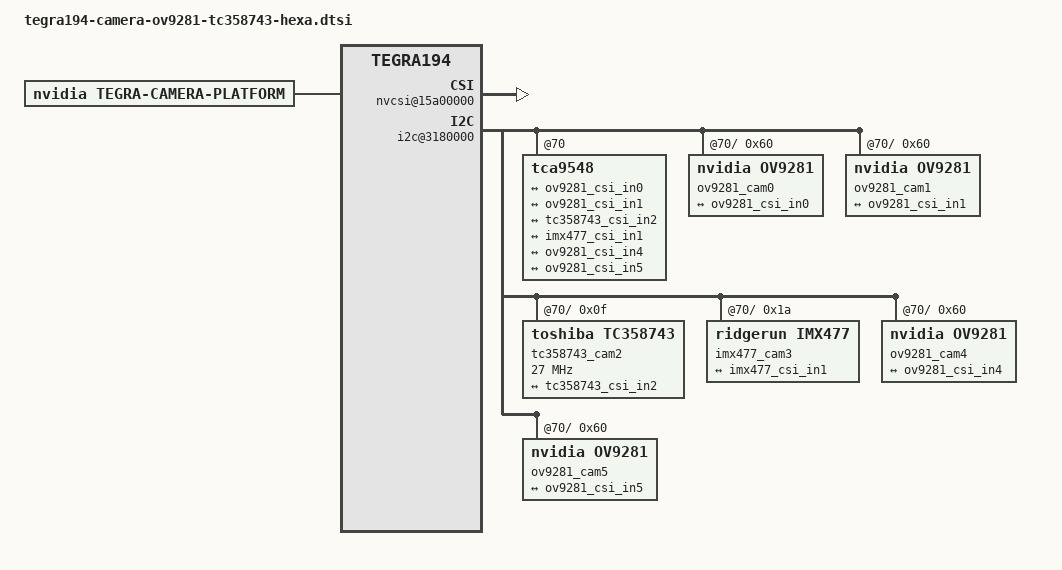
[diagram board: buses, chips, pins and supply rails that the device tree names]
/*
 * Copyright (c) 2015-2019, NVIDIA CORPORATION.  All rights reserved.
 *
 * This program is free software; you can redistribute it and/or modify
 * it under the terms of the GNU General Public License as published by
 * the Free Software Foundation; either version 2 of the License, or
 * (at your option) any later version.
 *
 * This program is distributed in the hope that it will be useful, but WITHOUT
 * ANY WARRANTY; without even the implied warranty of MERCHANTABILITY or
 * FITNESS FOR A PARTICULAR PURPOSE.  See the GNU General Public License for
 * more details.
 *
 * You should have received a copy of the GNU General Public License
 * along with this program.  If not, see <http://www.gnu.org/licenses/>.
 */

#include <dt-bindings/media/camera.h>
/ {
	tegra-capture-vi  {
			num-channels = <6>;
			ports {
				status="okay";
				#address-cells = <1>;
				#size-cells = <0>;
				port@0 {
					status="okay";
					reg = <0>;
					ov9281_vi_in0: endpoint {
						status="okay";
						port-index = <0>;
						bus-width = <2>;
						remote-endpoint = <&ov9281_csi_out0>;
					};
				};
				port@1 {
					status="okay";
					reg = <1>;
					ov9281_vi_in1: endpoint {
						status="okay";
						port-index = <2>;
						bus-width = <2>;
						remote-endpoint = <&ov9281_csi_out1>;
					};
				};
				port@2 {
					status="okay";
					reg = <2>;
					tc358743_vi_in2: endpoint {
						status="okay";
						port-index = <3>;
						bus-width = <2>;
						csi-port = <3>; 
						remote-endpoint = <&tc358743_csi_out2>;
					};
				};
				port@3 {
					status="okay";
					reg = <3>;
					imx477_vi_in1: endpoint {
						status="okay";
						port-index = <4>;
						bus-width = <2>;
						remote-endpoint = <&imx477_csi_out1>;
					};
				};
				port@4 {
					status="okay";
					reg = <4>;
					ov9281_vi_in4: endpoint {
						status="okay";
						port-index = <1>;
						bus-width = <2>;
						remote-endpoint = <&ov9281_csi_out4>;
					};
				};
				port@5 {
					status="okay";
					reg = <5>;
					ov9281_vi_in5: endpoint {
						status="okay";
						port-index = <5>;
						bus-width = <2>;
						remote-endpoint = <&ov9281_csi_out5>;
					};
				};				
			};
		
	};
	
	host1x@13e00000 {	
		nvcsi@15a00000 {
			num-channels = <6>;
			#address-cells = <1>;
			#size-cells = <0>;
			status="okay";
			channel@0 {
				reg = <0>;
				status="okay";
				ports {
					#address-cells = <1>;
					#size-cells = <0>;
					status="okay";
					port@0 {
						reg = <0>;
						status="okay";
						ov9281_csi_in0: endpoint@0 {
							status="okay";
							port-index = <0>;
							bus-width = <2>;
							remote-endpoint = <&ov9281_out0>;
						};
					};
					port@1 {
						reg = <1>;
						status="okay";
						ov9281_csi_out0: endpoint@1 {
							status="okay";
							remote-endpoint = <&ov9281_vi_in0>;
						};
					};
				};
			};
			channel@1 {
				reg = <1>;
				status="okay";
				ports {
					#address-cells = <1>;
					#size-cells = <0>;
					status="okay";
					port@0 {
						status="okay";
						reg = <0>;
						ov9281_csi_in1: endpoint@2 {
							status="okay";
							port-index = <2>;
							bus-width = <2>;
							remote-endpoint = <&ov9281_out1>;
						};
					};
					csi_chan1_port1: port@1 {
						reg = <1>;
						status="okay";
						ov9281_csi_out1: endpoint@3 {
							status="okay";
							remote-endpoint = <&ov9281_vi_in1>;
						};
					};
				};
			};
			channel@2 {
				reg = <2>;
				status="okay";
				ports {
					#address-cells = <1>;
					#size-cells = <0>;
					status="okay";
					port@0 {
						status="okay";
						reg = <0>;
						tc358743_csi_in2: endpoint@0 {
							status="okay";
							port-index = <3>;
							bus-width = <2>;
							csi-port = <3>;

							remote-endpoint = <&tc358743_out2>;
						};
					};
					port@1 {
						status="okay";
						reg = <1>;
						tc358743_csi_out2: endpoint@1 {
							status="okay";
							remote-endpoint = <&tc358743_vi_in2>;
						};
					};
				};
			};
			channel@3 {
				reg = <3>;
				status="okay";
				ports {
					#address-cells = <1>;
					#size-cells = <0>;
					status="okay";
					port@0 {
						status="okay";
						reg = <0>;
						imx477_csi_in1: endpoint@6 {
							status="okay";
							port-index = <4>;
							bus-width = <2>;
							remote-endpoint = <&imx477_out1>;
						};
					};
					port@1 {
						status="okay";
						reg = <1>;
						imx477_csi_out1: endpoint@7 {
							status="okay";
							remote-endpoint = <&imx477_vi_in1>;
						};
					};
				};
			};
			channel@4 {
				reg = <4>;
				status="okay";
				ports {
					#address-cells = <1>;
					#size-cells = <0>;
					status="okay";
					port@0 {
						status="okay";
						reg = <0>;
						ov9281_csi_in4: endpoint@8 {
							status="okay";
							port-index = <1>;
							bus-width = <2>;
							remote-endpoint = <&ov9281_out4>;
						};
					};
					port@1 {
						status="okay";
						reg = <1>;
						ov9281_csi_out4: endpoint@9 {
							status="okay";
							remote-endpoint = <&ov9281_vi_in4>;
						};
					};
				};
			};
			channel@5 {
				reg = <5>;
				status="okay";
				ports {
					#address-cells = <1>;
					#size-cells = <0>;
					status="okay";
					port@0 {
						status="okay";
						reg = <0>;
						ov9281_csi_in5: endpoint@10 {
							status="okay";
							port-index = <6>;
							bus-width = <2>;
							remote-endpoint = <&ov9281_out5>;
						};
					};
					port@1 {
						status="okay";
						reg = <1>;
						ov9281_csi_out5: endpoint@11 {
							status="okay";
							remote-endpoint = <&ov9281_vi_in5>;
						};
					};
				};
			};
		};	
	};

	i2c@3180000{ 		
		tca9548@70 {			
			i2c@0 {	/*CSI A*/				
				ov9281_cam0: ov9281_a@60 {
					status="okay";
					compatible = "nvidia,ov9281";
					/* I2C device address */ 
					reg = <0x60>;
					/* V4L2 device node location */
					devnode = "video0";

					/* Physical dimensions of sensor */
                	physical_w = "3.680";
                	physical_h = "2.760";

					sensor_model = "ov9281";
					use_sensor_mode_id = "true";					
					fsync = "slave-trigger"; /*none/slave-trigger*/

					mode0 { /* OV9281_MODE_1280x800 */						
						mclk_khz = "26000";						
						num_lanes = "2";
						tegra_sinterface = "serial_a";
						phy_mode = "DPHY";
						discontinuous_clk = "no";
						dpcm_enable = "false";
						cil_settletime = "0";
						active_w = "1280";
						active_h = "800";	
						pixel_t = "gray";
						csi_pixel_bit_depth = "10";

						readout_orientation = "90";
						line_length = "1408";											
						inherent_gain = "1";		
						mclk_multiplier = "7.69";	// mclk_multiplier = pix_clk_hx/mclk						
						pix_clk_hz = "200000000"; //800mbps*2lines/8bit per pixel

						gain_factor = "1";
						framerate_factor = "1";
						exposure_factor = "1";
						min_gain_val = "16"; 
						max_gain_val = "250"; 
						step_gain_val = "1";
						default_gain = "16"; /* 1.0x real gain */
						min_framerate = "5"; /* ? fps */
						max_framerate = "156"; 
						step_framerate = "1";
						default_framerate = "156"; /* 120.0 fps */
						min_exp_time = "19"; 
						max_exp_time = "14300"; 
						step_exp_time = "1";
						default_exp_time = "10896"; 

						embedded_metadata_height = "0";
					};
					mode1 { /* OV9281_MODE_1280x720 */
						mclk_khz = "26000";						
						num_lanes = "2";
						tegra_sinterface = "serial_a";
						phy_mode = "DPHY";
						discontinuous_clk = "no";
						dpcm_enable = "false";
						cil_settletime = "0";

						active_w = "1280";
						active_h = "720";	
						pixel_t = "gray";

						readout_orientation = "90";
						line_length = "1408";											
						inherent_gain = "1";		
						mclk_multiplier = "7.69";					
						pix_clk_hz = "200000000";
						csi_pixel_bit_depth = "10";

						gain_factor = "1";
						framerate_factor = "1";
						exposure_factor = "1";
						min_gain_val = "16"; 
						max_gain_val = "250"; 
						step_gain_val = "1";
						default_gain = "16"; /* 1.0x real gain */
						min_framerate = "5"; /* ? fps */
						max_framerate = "156"; 
						step_framerate = "1";
						default_framerate = "156"; /* 120.0 fps */
						min_exp_time = "19"; 
						max_exp_time = "14300";
						step_exp_time = "1";
						default_exp_time = "10896";

						embedded_metadata_height = "0";
					};
					mode2 { /* OV9281_MODE_640x400 */
						mclk_khz = "26000";						
						num_lanes = "2";
						tegra_sinterface = "serial_a";
						phy_mode = "DPHY";
						discontinuous_clk = "no";
						dpcm_enable = "false";
						cil_settletime = "0";
						csi_pixel_bit_depth = "10";

						active_w = "640";
						active_h = "400";	
						pixel_t = "gray";

						readout_orientation = "90";
						line_length = "1408";											
						inherent_gain = "1";		
						mclk_multiplier = "7.69";					
						pix_clk_hz = "200000000";

						gain_factor = "1";
						framerate_factor = "1";
						exposure_factor = "1";
						min_gain_val = "16"; 
						max_gain_val = "250"; 
						step_gain_val = "1";
						default_gain = "16"; /* 1.0x real gain */
						min_framerate = "5"; /* ? fps */
						max_framerate = "274"; 
						step_framerate = "1";
						default_framerate = "274"; /* 120.0 fps */
						min_exp_time = "19"; 
						max_exp_time = "23488"; //was 8120 $((32*253 + 31));  23488 = $(((32*734) + 0))
						step_exp_time = "1";
						default_exp_time = "6189";

						embedded_metadata_height = "0";
					};
					ports {
						#address-cells = <1>;
						#size-cells = <0>;
						status="okay";

						port@0 {
							reg = <0>;
							status="okay";
							ov9281_out0: endpoint {
								status="okay";
								port-index = <0>;
								bus-width = <2>;
								remote-endpoint = <&ov9281_csi_in0>;
							};
						};
					};
				};
			};
			i2c@1 {  /*CSI C*/				 	
				ov9281_cam1: ov9281_c@60 {
					status="okay";
					compatible = "nvidia,ov9281";
					/* I2C device address */ 
					reg = <0x60>;
					/* V4L2 device node location */
					devnode = "video1";

					/* Physical dimensions of sensor */
                	physical_w = "3.680";
                	physical_h = "2.760";

					sensor_model = "ov9281";
					use_sensor_mode_id = "true";
					fsync = "slave-trigger"; /*none/slave-trigger*/

					mode0 { /* OV9281_MODE_1280x800 */						
						mclk_khz = "26000";						
						num_lanes = "2";
						tegra_sinterface = "serial_c";
						phy_mode = "DPHY";
						discontinuous_clk = "no";
						dpcm_enable = "false";
						cil_settletime = "0";
						csi_pixel_bit_depth = "10";

						active_w = "1280";
						active_h = "800";	
						pixel_t = "gray";

						readout_orientation = "90";
						line_length = "1408";											
						inherent_gain = "1";		
						mclk_multiplier = "7.69";						
						pix_clk_hz = "200000000";

						gain_factor = "1";
						framerate_factor = "1";
						exposure_factor = "1";
						min_gain_val = "16"; 
						max_gain_val = "250"; 
						step_gain_val = "1";
						default_gain = "16"; /* 1.0x real gain */
						min_framerate = "5"; /* ? fps */
						max_framerate = "156"; 
						step_framerate = "1";
						default_framerate = "156"; /* 120.0 fps */
						min_exp_time = "19"; 
						max_exp_time = "14300"; 
						step_exp_time = "1";
						default_exp_time = "10896";

						embedded_metadata_height = "0";
					};
					mode1 { /* OV9281_MODE_1280x720 */
						mclk_khz = "26000";						
						num_lanes = "2";
						tegra_sinterface = "serial_c";
						phy_mode = "DPHY";
						discontinuous_clk = "no";
						dpcm_enable = "false";
						cil_settletime = "0";
						csi_pixel_bit_depth = "10";

						active_w = "1280";
						active_h = "720";	
						pixel_t = "gray";

						readout_orientation = "90";
						line_length = "1408";											
						inherent_gain = "1";		
						mclk_multiplier = "7.69";					
						pix_clk_hz = "200000000";

						gain_factor = "1";
						framerate_factor = "1";
						exposure_factor = "1";
						min_gain_val = "16"; 
						max_gain_val = "250"; 
						step_gain_val = "1";
						default_gain = "16"; /* 1.0x real gain */
						min_framerate = "5"; /* ? fps */
						max_framerate = "156"; 
						step_framerate = "1";
						default_framerate = "156"; /* 120.0 fps */
						min_exp_time = "19"; 
						max_exp_time = "14300"; 
						step_exp_time = "1";
						default_exp_time = "10896";

						embedded_metadata_height = "0";
					};
					mode2 { /* OV9281_MODE_640x400 */
						mclk_khz = "26000";						
						num_lanes = "2";
						tegra_sinterface = "serial_c";
						phy_mode = "DPHY";
						discontinuous_clk = "no";
						dpcm_enable = "false";
						cil_settletime = "0";
						csi_pixel_bit_depth = "10";

						active_w = "640";
						active_h = "400";	
						pixel_t = "gray";

						readout_orientation = "90";
						line_length = "1408";											
						inherent_gain = "1";		
						mclk_multiplier = "7.69";					
						pix_clk_hz = "200000000";

						gain_factor = "1";
						framerate_factor = "1";
						exposure_factor = "1";
						min_gain_val = "16"; 
						max_gain_val = "250"; 
						step_gain_val = "1";
						default_gain = "16"; /* 1.0x real gain */
						min_framerate = "5"; /* ? fps */
						max_framerate = "274"; 
						step_framerate = "1";
						default_framerate = "274"; /* 120.0 fps */
						min_exp_time = "19"; 
						max_exp_time = "23488"; //was 8120 $((32*253 + 31));  23488 = $(((32*734) + 0))
						step_exp_time = "1";
						default_exp_time = "6189";

						embedded_metadata_height = "0";
					};
					ports {
						#address-cells = <1>;
						#size-cells = <0>;
						status="okay";

						port@0 {
							reg = <0>;
							status="okay";
							ov9281_out1: endpoint {
								status="okay";
								port-index = <2>;
								bus-width = <2>;
								remote-endpoint = <&ov9281_csi_in1>;
							};
						};
					};
				};
			};
			i2c@2 {	/*CSI B*/		
				tc358743_cam2: tc358743_d@0f {
					status = "okay";
					compatible = "toshiba,tc358743";
					reg = <0x0f>; /* (normal = address not shifted) */
		
					devnode ="video0";
		
					clocks = <&bpmp_clks TEGRA194_CLK_EXTPERIPH1>;
					clock-names = "refclk";
					
					clock-frequency  = <27000000>;  // refclk_hz -> regclk
		
					/* Physical dimensions of sensor */
					physical_w = "4.713";
					physical_h = "3.494";
		
					/* Sensor Model */
					sensor_model ="tc358743";
		
					ddc5v_delay = <2>;
					enable_hdcp = "false";
					lineinitcnt = <0xe80>;
					lptxtimecnt = <0x003>;
					tclk_headercnt = <0x1403>;
					tclk_trailcnt = <0x00>;
					ths_headercnt = <0x0103>;
					twakeup = <0x4882>;
					tclk_postcnt = <0x008>;
					ths_trailcnt = <0x02>;
					hstxvregcnt = <0>;
					 
					mclk_khz = "27000";
		
					embedded_metadata_height = "0";
					pix_clk_hz = "25000000";
					sensor_pix_clk_hz = "25000000";
					mclk_multiplier = "7.69";					
					lane_polarity = "0";
					discontinuous_clk = "no";
					dpcm_enable = "false";
					cil_settletime = "0";
					csi_pixel_bit_depth = "16";
					num_lanes = "2";
					tegra_sinterface = "serial_d";
					phy_mode = "DPHY";
							ports {
								#address-cells = <1>;
								#size-cells = <0>;
								status="okay";
		
								port@0 {
									status="okay";
									reg = <0>;
									tc358743_out2: endpoint {
										status="okay";
										port-index = <3>;
										bus-width = <2>;
										data-lanes = <1 2>;
										clock-lanes = <0>;
										csi-port = <3>;
		
										//clock-noncontinuous;
										link-frequencies = /bits/ 64 <297000000>;
										remote-endpoint = <&tc358743_csi_in2>;
								};
						};
					};
				};
			};
			i2c@3 {	/*CSI D*/			
				imx477_cam3: imx477_e@1a {
					status="okay";
					compatible = "ridgerun,imx477";
					/* I2C device address */
					reg = <0x1a>;

					/* V4L2 device node location */
					devnode = "video3";

					/* Physical dimensions of sensor */
					physical_w = "7.564";
					physical_h = "5.476";

					sensor_model = "imx477";

					use_sensor_mode_id = "true";

					mode0 { /* IMX477_MODE_4032X3040 */
						mclk_khz = "24000";
						num_lanes = "2";
						tegra_sinterface = "serial_e";
						phy_mode = "DPHY";
						discontinuous_clk = "no";
						dpcm_enable = "false";
						cil_settletime = "0";
						
						active_w = "3840";
						active_h = "2160";
						mode_type = "bayer";
						pixel_phase = "rggb";
						csi_pixel_bit_depth = "10";
						readout_orientation = "90";
						line_length = "9024";
						inherent_gain = "1";
						mclk_multiplier = "80";
						pix_clk_hz = "300000000";

						gain_factor = "16";
						framerate_factor = "1000000";
						exposure_factor = "1000000";
						min_gain_val = "16"; /* 1.00x */
						max_gain_val = "356"; /* 22x */
						step_gain_val = "1";
						default_gain = "16"; /* 1.00x */
						min_hdr_ratio = "1";
						max_hdr_ratio = "1";
						min_framerate = "2000000"; /* 2.0 fps */
						max_framerate = "30000000"; /* 30.0 fps */
						step_framerate = "1";
						default_framerate = "30000000"; /* 30.0 fps */
						min_exp_time = "13"; /* us */
						max_exp_time = "683709"; /* us */
						step_exp_time = "1";
						default_exp_time = "2495"; /* us */

						embedded_metadata_height = "2";
					};
					mode1 { /* IMX477_MODE_1920X1080 */
						mclk_khz = "24000";
						num_lanes = "2";
						tegra_sinterface = "serial_e";
						phy_mode = "DPHY";
						discontinuous_clk = "no";
						dpcm_enable = "false";
						cil_settletime = "0";

						active_w = "1920";
						active_h = "1080";
						mode_type = "bayer";
						pixel_phase = "rggb";
						csi_pixel_bit_depth = "10";
						readout_orientation = "90";
						line_length = "9024";
						inherent_gain = "1";
						mclk_multiplier = "80";
						pix_clk_hz = "300000000";

						gain_factor = "16";
						framerate_factor = "1000000";
						exposure_factor = "1000000";
						min_gain_val = "16"; /* 1.00x */
						max_gain_val = "356"; /* 22x */
						step_gain_val = "1";
						default_gain = "16"; /* 1.00x */
						min_hdr_ratio = "1";
						max_hdr_ratio = "1";
						min_framerate = "2000000"; /* 2.0 fps */
						max_framerate = "60000000"; /* 60.0 fps */
						step_framerate = "1";
						default_framerate = "60000000"; /* 60.0 fps */
						min_exp_time = "13"; /* us */
						max_exp_time = "683709"; /* us */
						step_exp_time = "1";
						default_exp_time = "2495"; /* us */

						embedded_metadata_height = "2";
					};
					ports {
						#address-cells = <1>;
						#size-cells = <0>;
						status="okay";

						port@0 {
							status="okay";
							reg = <0>;
							imx477_out1: endpoint {
								status="okay";
								port-index = <4>;
								bus-width = <2>;
								remote-endpoint = <&imx477_csi_in1>;
							};
						};
					};
				};
			};
			i2c@4 {	/*CSI F*/				
				ov9281_cam4: ov9281_b@60 {
					status="okay";
					compatible = "nvidia,ov9281";
					/* I2C device address */ 
					reg = <0x60>;
					/* V4L2 device node location */
					devnode = "video4";

					/* Physical dimensions of sensor */
                	physical_w = "3.680";
                	physical_h = "2.760";

					sensor_model = "ov9281";
					use_sensor_mode_id = "true";
					fsync = "slave-trigger"; /*none/slave-trigger*/

					mode0 { /* OV9281_MODE_1280x800 */						
						mclk_khz = "26000";						
						num_lanes = "2";
						tegra_sinterface = "serial_b";
						phy_mode = "DPHY";
						discontinuous_clk = "no";
						dpcm_enable = "false";
						cil_settletime = "0";
						csi_pixel_bit_depth = "10";

						active_w = "1280";
						active_h = "800";	
						pixel_t = "gray";

						readout_orientation = "90";
						line_length = "1408";											
						inherent_gain = "1";		
						mclk_multiplier = "7.69";						
						pix_clk_hz = "200000000";

						gain_factor = "1";
						framerate_factor = "1";
						exposure_factor = "1";
						min_gain_val = "16"; 
						max_gain_val = "250"; 
						step_gain_val = "1";
						default_gain = "16"; /* 1.0x real gain */
						min_framerate = "5"; /* ? fps */
						max_framerate = "156"; 
						step_framerate = "1";
						default_framerate = "156"; /* 120.0 fps */
						min_exp_time = "19"; 
						max_exp_time = "14300"; 
						step_exp_time = "1";
						default_exp_time = "10896";

						embedded_metadata_height = "0";
					};
					mode1 { /* OV9281_MODE_1280x720 */
						mclk_khz = "26000";						
						num_lanes = "2";
						tegra_sinterface = "serial_b";
						phy_mode = "DPHY";
						discontinuous_clk = "no";
						dpcm_enable = "false";
						cil_settletime = "0";
						csi_pixel_bit_depth = "10";

						active_w = "1280";
						active_h = "720";	
						pixel_t = "gray";

						readout_orientation = "90";
						line_length = "1408";											
						inherent_gain = "1";		
						mclk_multiplier = "7.69";					
						pix_clk_hz = "200000000";

						gain_factor = "1";
						framerate_factor = "1";
						exposure_factor = "1";
						min_gain_val = "16"; 
						max_gain_val = "250"; 
						step_gain_val = "1";
						default_gain = "16"; /* 1.0x real gain */
						min_framerate = "5"; /* ? fps */
						max_framerate = "156"; 
						step_framerate = "1";
						default_framerate = "156"; /* 120.0 fps */
						min_exp_time = "19"; 
						max_exp_time = "14300"; 
						step_exp_time = "1";
						default_exp_time = "10896";

						embedded_metadata_height = "0";
					};
					mode2 { /* OV9281_MODE_640x400 */
						mclk_khz = "26000";						
						num_lanes = "2";
						tegra_sinterface = "serial_b";
						phy_mode = "DPHY";
						discontinuous_clk = "no";
						dpcm_enable = "false";
						cil_settletime = "0";
						csi_pixel_bit_depth = "10";

						active_w = "640";
						active_h = "400";	
						pixel_t = "gray";

						readout_orientation = "90";
						line_length = "1408";											
						inherent_gain = "1";		
						mclk_multiplier = "7.69";					
						pix_clk_hz = "200000000";

						gain_factor = "1";
						framerate_factor = "1";
						exposure_factor = "1";
						min_gain_val = "16"; 
						max_gain_val = "250"; 
						step_gain_val = "1";
						default_gain = "16"; /* 1.0x real gain */
						min_framerate = "5"; /* ? fps */
						max_framerate = "274"; 
						step_framerate = "1";
						default_framerate = "274"; /* 120.0 fps */
						min_exp_time = "19"; 
						max_exp_time = "23488"; //was 8120 $((32*253 + 31));  23488 = $(((32*734) + 0))
						step_exp_time = "1";
						default_exp_time = "6189";

						embedded_metadata_height = "0";
					};
					ports {
						#address-cells = <1>;
						#size-cells = <0>;
						status="okay";

						port@0 {
							reg = <0>;
							status="okay";
							ov9281_out4: endpoint {
								status="okay";
								port-index = <1>;
								bus-width = <2>;
								remote-endpoint = <&ov9281_csi_in4>;
							};
						};
					};
				};
			};
			i2c@5 {	/*CSI E*/		
				ov9281_cam5: ov9281_g@60 {
					status="okay";
					compatible = "nvidia,ov9281";
					/* I2C device address */ 
					reg = <0x60>;
					/* V4L2 device node location */
					devnode = "video5";

					/* Physical dimensions of sensor */
                	physical_w = "3.680";
                	physical_h = "2.760";

					sensor_model = "ov9281";
					use_sensor_mode_id = "true";
					fsync = "slave-trigger"; /*none/slave-trigger*/

					mode0 { /* OV9281_MODE_1280x800 */						
						mclk_khz = "26000";						
						num_lanes = "2";
						tegra_sinterface = "serial_g";
						phy_mode = "DPHY";
						discontinuous_clk = "no";
						dpcm_enable = "false";
						cil_settletime = "0";
						csi_pixel_bit_depth = "10";

						active_w = "1280";
						active_h = "800";	
						pixel_t = "gray";

						readout_orientation = "90";
						line_length = "1408";											
						inherent_gain = "1";		
						mclk_multiplier = "7.69";						
						pix_clk_hz = "200000000";

						gain_factor = "1";
						framerate_factor = "1";
						exposure_factor = "1";
						min_gain_val = "16"; 
						max_gain_val = "250"; 
						step_gain_val = "1";
						default_gain = "16"; /* 1.0x real gain */
						min_framerate = "5"; /* ? fps */
						max_framerate = "156"; 
						step_framerate = "1";
						default_framerate = "156"; /* 120.0 fps */
						min_exp_time = "19"; 
						max_exp_time = "14300"; 
						step_exp_time = "1";
						default_exp_time = "10896";

						embedded_metadata_height = "0";
					};
					mode1 { /* OV9281_MODE_1280x720 */
						mclk_khz = "26000";						
						num_lanes = "2";
						tegra_sinterface = "serial_g";
						phy_mode = "DPHY";
						discontinuous_clk = "no";
						dpcm_enable = "false";
						cil_settletime = "0";
						csi_pixel_bit_depth = "10";

						active_w = "1280";
						active_h = "720";	
						pixel_t = "gray";

						readout_orientation = "90";
						line_length = "1408";											
						inherent_gain = "1";		
						mclk_multiplier = "7.69";					
						pix_clk_hz = "200000000";

						gain_factor = "1";
						framerate_factor = "1";
						exposure_factor = "1";
						min_gain_val = "16"; 
						max_gain_val = "250"; 
						step_gain_val = "1";
						default_gain = "16"; /* 1.0x real gain */
						min_framerate = "5"; /* ? fps */
						max_framerate = "156"; 
						step_framerate = "1";
						default_framerate = "156"; /* 120.0 fps */
						min_exp_time = "19"; 
						max_exp_time = "14300"; 
						step_exp_time = "1";
						default_exp_time = "10896";

						embedded_metadata_height = "0";
					};
					mode2 { /* OV9281_MODE_640x400 */
						mclk_khz = "26000";						
						num_lanes = "2";
						tegra_sinterface = "serial_g";
						phy_mode = "DPHY";
						discontinuous_clk = "no";
						dpcm_enable = "false";
						cil_settletime = "0";
						csi_pixel_bit_depth = "10";

						active_w = "640";
						active_h = "400";	
						pixel_t = "gray";

						readout_orientation = "90";
						line_length = "1408";											
						inherent_gain = "1";		
						mclk_multiplier = "7.69";					
						pix_clk_hz = "200000000";

						gain_factor = "1";
						framerate_factor = "1";
						exposure_factor = "1";
						min_gain_val = "16"; 
						max_gain_val = "250"; 
						step_gain_val = "1";
						default_gain = "16"; /* 1.0x real gain */
						min_framerate = "5"; /* ? fps */
						max_framerate = "274"; 
						step_framerate = "1";
						default_framerate = "274"; /* 120.0 fps */
						min_exp_time = "19"; 
						max_exp_time = "23488"; //was 8120 $((32*253 + 31));  23488 = $(((32*734) + 0))
						step_exp_time = "1";
						default_exp_time = "6189";

						embedded_metadata_height = "0";
					};					
					ports {
						#address-cells = <1>;
						#size-cells = <0>;
						status="okay";

						port@0 {
							reg = <0>;
							status="okay";
							ov9281_out5: endpoint {
								status="okay";
								port-index = <5>;
								bus-width = <2>;
								remote-endpoint = <&ov9281_csi_in5>;
						};
					};
				};
				};
			};
		};		
	};	
};

/ {
	tegra-camera-platform {
		compatible = "nvidia, tegra-camera-platform";	
		/**
		* Physical settings to calculate max ISO BW
		*
		* num_csi_lanes = <>;
		* Total number of CSI lanes when all cameras are active
		*
		* max_lane_speed = <>;
		* Max lane speed in Kbit/s
		*
		* min_bits_per_pixel = <>;
		* Min bits per pixel
		*
		* vi_peak_byte_per_pixel = <>;
		* Max byte per pixel for the VI ISO case
		*
		* vi_bw_margin_pct = <>;
		* Vi bandwidth margin in percentage
		*
		* max_pixel_rate = <>;
		* Max pixel rate in Kpixel/s for the ISP ISO case
		* Set this to the highest pix_clk_hz out of all available modes.
		*
		* isp_peak_byte_per_pixel = <>;
		* Max byte per pixel for the ISP ISO case
		*
		* isp_bw_margin_pct = <>;
		* Isp bandwidth margin in percentage
		*/
		num_csi_lanes = <12>;
		max_lane_speed = <1500000>;
		min_bits_per_pixel = <8>;
		vi_peak_byte_per_pixel = <2>;
		vi_bw_margin_pct = <25>;
		max_pixel_rate = <7500000>;
		isp_peak_byte_per_pixel = <5>;
		isp_bw_margin_pct = <25>;

		/**
		* The general guideline for naming badge_info contains 3 parts, and is as follows,
		* The first part is the camera_board_id for the module; if the module is in a FFD
		* platform, then use the platform name for this part.
		* The second part contains the position of the module, ex. “rear” or “front”.
		* The third part contains the last 6 characters of a part number which is found
		* in the module's specsheet from the vender.
		*/
		modules { 
			status="okay";
			module0 {
				badge = "jakku_bottomright_AVOV9281";
				position = "bottomright";
				orientation = "1";
				status="okay";
				drivernode0 {
					status="okay";
					pcl_id = "v4l2_sensor";
					devname = "ov9281 30-0060";
					proc-device-tree = "/proc/device-tree/i2c@3180000/tca9548@70/i2c@0/ov9281_a@60"; 
				};
			};
			module1 {
				badge = "jakku_centerright_AVOV9281";
				position = "centerright";
				orientation = "1";
				status="okay";
				drivernode0 {
					status="okay";
					pcl_id = "v4l2_sensor";
					devname = "ov9281 31-0060";
					proc-device-tree = "/proc/device-tree/i2c@3180000/tca9548@70/i2c@1/ov9281_c@60";
				};
			};
			module2 {
				badge = "jakku_bottomleft_IMX477";
				position = "bottomleft";
				orientation = "1";
				status="okay";
				drivernode0 {
					status="okay";
					pcl_id = "v4l2_sensor";
					devname = "tc358743 32-000f";
					proc-device-tree = "/proc/device-tree/i2c@3180000/tca9548@70/i2c@2/tc358743_d@0f";
				};
			};
			module3 {
				badge = "jakku_centerleft_IMX477";
				position = "centerleft";
				orientation = "1";
				status="okay";
				drivernode0 {
					status="okay";
					pcl_id = "v4l2_sensor";
					devname = "imx477 33-001a";
					proc-device-tree = "/proc/device-tree/i2c@3180000/tca9548@70/i2c@3/imx477_e@1a";
				};
			};
			module4 {
				badge = "jakku_topright_AVOV9281";
				position = "topright";
				orientation = "1";
				status="okay";
				drivernode0 {
					status="okay";
					pcl_id = "v4l2_sensor";
					devname = "ov9281 34-0060";
					proc-device-tree = "/proc/device-tree/i2c@3180000/tca9548@70/i2c@4/ov9281_b@60";
				};
			};
			module5 {
				badge = "jakku_topleft_AVOV9281";
				position = "topleft";
				orientation = "1";
				status="okay";
				drivernode0 {
					status="okay";
					pcl_id = "v4l2_sensor";
					devname = "ov9281 35-0060";
					proc-device-tree = "/proc/device-tree/i2c@3180000/tca9548@70/i2c@5/ov9281_g@60";
				};
			};
		};
	};
};



		
